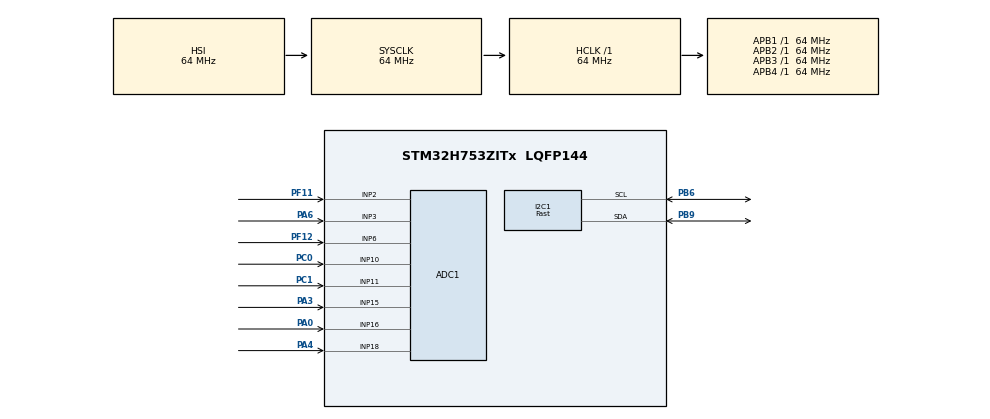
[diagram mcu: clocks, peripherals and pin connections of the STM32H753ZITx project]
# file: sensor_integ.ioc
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ADC1.Channel-0\#ChannelRegularConversion=ADC_CHANNEL_16
ADC1.Channel-1\#ChannelRegularConversion=ADC_CHANNEL_15
ADC1.Channel-2\#ChannelRegularConversion=ADC_CHANNEL_18
ADC1.Channel-3\#ChannelRegularConversion=ADC_CHANNEL_3
ADC1.Channel-4\#ChannelRegularConversion=ADC_CHANNEL_10
ADC1.Channel-5\#ChannelRegularConversion=ADC_CHANNEL_11
ADC1.Channel-6\#ChannelRegularConversion=ADC_CHANNEL_2
ADC1.Channel-7\#ChannelRegularConversion=ADC_CHANNEL_6
ADC1.ContinuousConvMode=ENABLE
ADC1.ConversionDataManagement=ADC_CONVERSIONDATA_DMA_CIRCULAR
ADC1.EOCSelection=ADC_EOC_SEQ_CONV
ADC1.NbrOfConversion=8
ADC1.NbrOfConversionFlag=1
ADC1.OffsetNumber-0\#ChannelRegularConversion=ADC_OFFSET_NONE
ADC1.OffsetNumber-1\#ChannelRegularConversion=ADC_OFFSET_NONE
ADC1.OffsetNumber-2\#ChannelRegularConversion=ADC_OFFSET_NONE
ADC1.OffsetNumber-3\#ChannelRegularConversion=ADC_OFFSET_NONE
ADC1.OffsetNumber-4\#ChannelRegularConversion=ADC_OFFSET_NONE
ADC1.OffsetNumber-5\#ChannelRegularConversion=ADC_OFFSET_NONE
ADC1.OffsetNumber-6\#ChannelRegularConversion=ADC_OFFSET_NONE
ADC1.OffsetNumber-7\#ChannelRegularConversion=ADC_OFFSET_NONE
ADC1.OffsetSignedSaturation-0\#ChannelRegularConversion=DISABLE
ADC1.OffsetSignedSaturation-1\#ChannelRegularConversion=DISABLE
ADC1.OffsetSignedSaturation-2\#ChannelRegularConversion=DISABLE
ADC1.OffsetSignedSaturation-3\#ChannelRegularConversion=DISABLE
ADC1.OffsetSignedSaturation-4\#ChannelRegularConversion=DISABLE
ADC1.OffsetSignedSaturation-5\#ChannelRegularConversion=DISABLE
ADC1.OffsetSignedSaturation-6\#ChannelRegularConversion=DISABLE
ADC1.OffsetSignedSaturation-7\#ChannelRegularConversion=DISABLE
ADC1.Rank-0\#ChannelRegularConversion=1
ADC1.Rank-1\#ChannelRegularConversion=2
ADC1.Rank-2\#ChannelRegularConversion=3
ADC1.Rank-3\#ChannelRegularConversion=4
ADC1.Rank-4\#ChannelRegularConversion=5
ADC1.Rank-5\#ChannelRegularConversion=6
ADC1.Rank-6\#ChannelRegularConversion=7
ADC1.Rank-7\#ChannelRegularConversion=8
ADC1.SamplingTime-0\#ChannelRegularConversion=ADC_SAMPLETIME_810CYCLES_5
ADC1.SamplingTime-1\#ChannelRegularConversion=ADC_SAMPLETIME_810CYCLES_5
ADC1.SamplingTime-2\#ChannelRegularConversion=ADC_SAMPLETIME_810CYCLES_5
ADC1.SamplingTime-3\#ChannelRegularConversion=ADC_SAMPLETIME_810CYCLES_5
ADC1.SamplingTime-4\#ChannelRegularConversion=ADC_SAMPLETIME_810CYCLES_5
ADC1.SamplingTime-5\#ChannelRegularConversion=ADC_SAMPLETIME_810CYCLES_5
ADC1.SamplingTime-6\#ChannelRegularConversion=ADC_SAMPLETIME_810CYCLES_5
ADC1.SamplingTime-7\#ChannelRegularConversion=ADC_SAMPLETIME_810CYCLES_5
ADC1.master=1
CORTEX_M7.CPU_DCache=Disabled
CORTEX_M7.CPU_ICache=Disabled
CORTEX_M7.MPU_Control=MPU_PRIVILEGED_DEFAULT
CORTEX_M7.default_mode_Activation=1
Dma.ADC1.0.Direction=DMA_PERIPH_TO_MEMORY
Dma.ADC1.0.EventEnable=DISABLE
Dma.ADC1.0.FIFOMode=DMA_FIFOMODE_DISABLE
Dma.ADC1.0.Instance=DMA1_Stream0
Dma.ADC1.0.MemDataAlignment=DMA_MDATAALIGN_HALFWORD
Dma.ADC1.0.MemInc=DMA_MINC_ENABLE
Dma.ADC1.0.Mode=DMA_CIRCULAR
Dma.ADC1.0.PeriphDataAlignment=DMA_PDATAALIGN_HALFWORD
Dma.ADC1.0.PeriphInc=DMA_PINC_DISABLE
Dma.ADC1.0.Polarity=HAL_DMAMUX_REQ_GEN_RISING
Dma.ADC1.0.Priority=DMA_PRIORITY_LOW
Dma.ADC1.0.RequestNumber=1
Dma.ADC1.0.SignalID=NONE
Dma.ADC1.0.SyncEnable=DISABLE
Dma.ADC1.0.SyncPolarity=HAL_DMAMUX_SYNC_NO_EVENT
Dma.ADC1.0.SyncRequestNumber=1
Dma.ADC1.0.SyncSignalID=NONE
Dma.Request0=ADC1
I2C1.I2C_Speed_Mode=I2C_Fast
I2C1.Timing=0x00602173
Mcu.Family=STM32H7
Mcu.Name=STM32H753ZITx
Mcu.Package=LQFP144
NUCLEO-H753ZI.BUTTON=1
NUCLEO-H753ZI.LD1=true
NUCLEO-H753ZI.LD2=true
NUCLEO-H753ZI.LD3=true
NUCLEO-H753ZI.VCP=true
NVIC.ADC_IRQn=true\:0\:0\:false\:false\:true\:true\:true\:true
NVIC.DMA1_Stream0_IRQn=true\:0\:0\:false\:false\:true\:false\:true\:true
NVIC.EXTI15_10_IRQn=true\:0\:0\:false\:false\:true\:false\:true\:true
NVIC.PriorityGroup=NVIC_PRIORITYGROUP_4
PA0.Mode=IN16-Single-Ended
PA0.Signal=ADC1_INP16
PA3.Signal=ADCx_INP15
PA4.Signal=ADCx_INP18
PA6.Signal=ADCx_INP3
PB6.Mode=I2C
PB6.Signal=I2C1_SCL
PB9.Mode=I2C
PB9.Signal=I2C1_SDA
PC0.Signal=ADCx_INP10
PC1.Signal=ADCx_INP11
PC14-OSC32_IN\ (OSC32_IN).Signal=RCC_OSC32_IN
PC15-OSC32_OUT\ (OSC32_OUT).Signal=RCC_OSC32_OUT
PD8.Signal=USART3_TX
PD9.Signal=USART3_RX
PF11.Mode=IN2-Single-Ended
PF11.Signal=ADC1_INP2
PF12.Mode=IN6-Single-Ended
PF12.Signal=ADC1_INP6
PH0-OSC_IN\ (PH0).Signal=RCC_OSC_IN
PH1-OSC_OUT\ (PH1).Signal=RCC_OSC_OUT
ProjectManager.HeapSize=0x200
ProjectManager.StackSize=0x400
ProjectManager.TargetToolchain=STM32CubeIDE
RCC.ADCFreq_Value=75000000
RCC.APB1Freq_Value=64000000
RCC.APB2Freq_Value=64000000
RCC.APB3Freq_Value=64000000
RCC.APB4Freq_Value=64000000
RCC.CortexFreq_Value=64000000
RCC.DIVM1=1
RCC.DIVM2=4
RCC.DIVN1=24
RCC.DIVN2=9
RCC.DIVQ1=4
RCC.HCLKFreq_Value=64000000
RCC.HSE_VALUE=8000000
RCC.PLL2FRACN=3072
RCC.PLLFRACN=0
RCC.PWR_Regulator_Voltage_Scale=PWR_REGULATOR_VOLTAGE_SCALE2
RCC.SYSCLKFreq_VALUE=64000000
RCC.USBFreq_Value=384000000
SH.ADCx_INP10.0=ADC1_INP10,IN10-Single-Ended
SH.ADCx_INP11.0=ADC1_INP11,IN11-Single-Ended
SH.ADCx_INP15.0=ADC1_INP15,IN15-Single-Ended
SH.ADCx_INP18.0=ADC1_INP18,IN18-Single-Ended
SH.ADCx_INP3.0=ADC1_INP3,IN3-Single-Ended
VP_MEMORYMAP_VS_MEMORYMAP.Mode=CurAppReg
VP_NUCLEO-H753ZI_VS_BSP_COMMON.Mode=COMMON
board=NUCLEO-H753ZI

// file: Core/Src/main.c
/* USER CODE BEGIN Header */
/**
  ******************************************************************************
  * @file           : main.c
  * @brief          : Main program body
  ******************************************************************************
  * @attention
  *
  * Copyright (c) 2026 STMicroelectronics.
  * All rights reserved.
  *
  * This software is licensed under terms that can be found in the LICENSE file
  * in the root directory of this software component.
  * If no LICENSE file comes with this software, it is provided AS-IS.
  *
  ******************************************************************************
  */
/* USER CODE END Header */
#include "main.h"

/* USER CODE BEGIN Includes */
#include "lidar.h"
#include "thermistors.h"
#include "mpu6050.h"
#include <stdio.h>
#include <stdlib.h>
/* USER CODE END Includes */

/* USER CODE BEGIN PTD */
#define NUM_THERM 8
/* USER CODE END PTD */

/* USER CODE BEGIN PD */
//#define LIDAR_ADD 0x62<<1  // i2c slave address of lidar lite
/* USER CODE END PD */

COM_InitTypeDef BspCOMInit;
ADC_HandleTypeDef hadc1;
DMA_HandleTypeDef hdma_adc1;

I2C_HandleTypeDef hi2c1;

/* USER CODE BEGIN PV */
int32_t m_distance,object_distance;
uint8_t cmd[1];
uint8_t data[2]={10};
char str[100];

__attribute__((section(".dma_buffer"), aligned(32)))
uint16_t adcBuf[16];   /* 8 used, padded to 32 bytes */
/* USER CODE END PV */

void SystemClock_Config(void);
static void MPU_Config(void);
static void MX_GPIO_Init(void);
static void MX_DMA_Init(void);
static void MX_I2C1_Init(void);
static void MX_ADC1_Init(void);

int main(void)
{

  /* USER CODE BEGIN 1 */
   //configuration_set(4);  // initialize configurations for LIDAR

  /* USER CODE END 1 */

  /* MPU Configuration--------------------------------------------------------*/
  MPU_Config();

  /* MCU Configuration--------------------------------------------------------*/

  /* Reset of all peripherals, Initializes the Flash interface and the Systick. */
  HAL_Init();

  /* Configure the system clock */
  SystemClock_Config();

  /* Initialize all configured peripherals */
  MX_GPIO_Init();
  MX_DMA_Init();
  MX_I2C1_Init();
  MX_ADC1_Init();
  /* USER CODE BEGIN 2 */
  HAL_ADCEx_Calibration_Start(&hadc1, ADC_CALIB_OFFSET, ADC_SINGLE_ENDED);
  HAL_ADC_Start_DMA(&hadc1, (uint32_t*)adcBuf, NUM_THERM);
  /* USER CODE END 2 */

  /* Initialize leds */
  BSP_LED_Init(LED_GREEN);
  BSP_LED_Init(LED_YELLOW);
  BSP_LED_Init(LED_RED);

  /* Initialize USER push-button, will be used to trigger an interrupt each time it's pressed.*/
  BSP_PB_Init(BUTTON_USER, BUTTON_MODE_EXTI);

  /* Initialize COM1 port (115200, 8 bits (7-bit data + 1 stop bit), no parity */
  BspCOMInit.BaudRate   = 115200;
  BspCOMInit.WordLength = COM_WORDLENGTH_8B;
  BspCOMInit.StopBits   = COM_STOPBITS_1;
  BspCOMInit.Parity     = COM_PARITY_NONE;
  BspCOMInit.HwFlowCtl  = COM_HWCONTROL_NONE;
  if (BSP_COM_Init(COM1, &BspCOMInit) != BSP_ERROR_NONE)
  {
    Error_Handler();
  }

  /* Infinite loop */
  /* USER CODE BEGIN WHILE */
  lidar_init(&hi2c1);
  lidar_config(3);
  MPU6050_Initialization();

  BSP_COM_SelectLogPort(COM1);
  printf("8 thermistor read started\r\n");
  while (1)
  {

    /* USER CODE END WHILE */

    /* USER CODE BEGIN 3 */

	  // MPU
	  MPU6050_ProcessData(&MPU6050);
	  printf("Accel X: %.2f, Y: %.2f, Z: %.2f g\r\n", MPU6050.acc_x, MPU6050.acc_y, MPU6050.acc_z);
	  printf("Gyro X: %.2f, Y: %.2f, Z: %.2f deg/s\r\n", MPU6050.gyro_x, MPU6050.gyro_y, MPU6050.gyro_z);
	  printf("Temperature: %.2f C\r\n", MPU6050.temperature);
	  HAL_Delay(100);

	  // LiDAR
	  printf("LIDAR readings: ");
	  object_distance = retrieve_lidar_distance();
	  printf("Distance: %lu cm\r\n", object_distance);
	  HAL_Delay(100);

	  // thermistors
	  SCB_InvalidateDCache_by_Addr((uint32_t*)adcBuf, sizeof(adcBuf));

	  for (int i = 0; i < NUM_THERM; i++)
	  {
		float   tempC = ntc_convertToC(adcBuf[i]);
		int32_t t100  = (int32_t)(tempC * 100.0f);
		printf("T%d:%s%ld.%02ld  ", i + 1,
			   (t100 < 0) ? "-" : "",
			   (long)abs(t100 / 100),
			   (long)abs(t100 % 100));
	  }
	  printf("\r\n");

	  BSP_LED_Toggle(LED_GREEN);
	  HAL_Delay(200);

  }
  /* USER CODE END 3 */
}

void SystemClock_Config(void)
{
  RCC_OscInitTypeDef RCC_OscInitStruct = {0};
  RCC_ClkInitTypeDef RCC_ClkInitStruct = {0};

  /** Supply configuration update enable
  */
  HAL_PWREx_ConfigSupply(PWR_LDO_SUPPLY);

  /** Configure the main internal regulator output voltage
  */
  __HAL_PWR_VOLTAGESCALING_CONFIG(PWR_REGULATOR_VOLTAGE_SCALE2);

  while(!__HAL_PWR_GET_FLAG(PWR_FLAG_VOSRDY)) {}

  /** Macro to configure the PLL clock source
  */
  __HAL_RCC_PLL_PLLSOURCE_CONFIG(RCC_PLLSOURCE_HSI);

  /** Initializes the RCC Oscillators according to the specified parameters
  * in the RCC_OscInitTypeDef structure.
  */
  RCC_OscInitStruct.OscillatorType = RCC_OSCILLATORTYPE_HSI;
  RCC_OscInitStruct.HSIState = RCC_HSI_DIV1;
  RCC_OscInitStruct.HSICalibrationValue = RCC_HSICALIBRATION_DEFAULT;
  RCC_OscInitStruct.PLL.PLLState = RCC_PLL_NONE;
  if (HAL_RCC_OscConfig(&RCC_OscInitStruct) != HAL_OK)
  {
    Error_Handler();
  }

  /** Initializes the CPU, AHB and APB buses clocks
  */
  RCC_ClkInitStruct.ClockType = RCC_CLOCKTYPE_HCLK|RCC_CLOCKTYPE_SYSCLK
                              |RCC_CLOCKTYPE_PCLK1|RCC_CLOCKTYPE_PCLK2
                              |RCC_CLOCKTYPE_D3PCLK1|RCC_CLOCKTYPE_D1PCLK1;
  RCC_ClkInitStruct.SYSCLKSource = RCC_SYSCLKSOURCE_HSI;
  RCC_ClkInitStruct.SYSCLKDivider = RCC_SYSCLK_DIV1;
  RCC_ClkInitStruct.AHBCLKDivider = RCC_HCLK_DIV1;
  RCC_ClkInitStruct.APB3CLKDivider = RCC_APB3_DIV1;
  RCC_ClkInitStruct.APB1CLKDivider = RCC_APB1_DIV1;
  RCC_ClkInitStruct.APB2CLKDivider = RCC_APB2_DIV1;
  RCC_ClkInitStruct.APB4CLKDivider = RCC_APB4_DIV1;

  if (HAL_RCC_ClockConfig(&RCC_ClkInitStruct, FLASH_LATENCY_1) != HAL_OK)
  {
    Error_Handler();
  }
}

static void MX_ADC1_Init(void)
{

  ADC_MultiModeTypeDef multimode = {0};
  ADC_ChannelConfTypeDef sConfig = {0};

  /** Common config
  */
  hadc1.Instance = ADC1;
  hadc1.Init.ClockPrescaler = ADC_CLOCK_ASYNC_DIV2;
  hadc1.Init.Resolution = ADC_RESOLUTION_16B;
  hadc1.Init.ScanConvMode = ADC_SCAN_ENABLE;
  hadc1.Init.EOCSelection = ADC_EOC_SEQ_CONV;
  hadc1.Init.LowPowerAutoWait = DISABLE;
  hadc1.Init.ContinuousConvMode = ENABLE;
  hadc1.Init.NbrOfConversion = 8;
  hadc1.Init.DiscontinuousConvMode = DISABLE;
  hadc1.Init.ExternalTrigConv = ADC_SOFTWARE_START;
  hadc1.Init.ExternalTrigConvEdge = ADC_EXTERNALTRIGCONVEDGE_NONE;
  hadc1.Init.ConversionDataManagement = ADC_CONVERSIONDATA_DMA_CIRCULAR;
  hadc1.Init.Overrun = ADC_OVR_DATA_PRESERVED;
  hadc1.Init.LeftBitShift = ADC_LEFTBITSHIFT_NONE;
  hadc1.Init.OversamplingMode = DISABLE;
  hadc1.Init.Oversampling.Ratio = 1;
  if (HAL_ADC_Init(&hadc1) != HAL_OK)
  {
    Error_Handler();
  }

  /** Configure the ADC multi-mode
  */
  multimode.Mode = ADC_MODE_INDEPENDENT;
  if (HAL_ADCEx_MultiModeConfigChannel(&hadc1, &multimode) != HAL_OK)
  {
    Error_Handler();
  }

  /** Configure Regular Channel
  */
  sConfig.Channel = ADC_CHANNEL_16;
  sConfig.Rank = ADC_REGULAR_RANK_1;
  sConfig.SamplingTime = ADC_SAMPLETIME_810CYCLES_5;
  sConfig.SingleDiff = ADC_SINGLE_ENDED;
  sConfig.OffsetNumber = ADC_OFFSET_NONE;
  sConfig.Offset = 0;
  sConfig.OffsetSignedSaturation = DISABLE;
  if (HAL_ADC_ConfigChannel(&hadc1, &sConfig) != HAL_OK)
  {
    Error_Handler();
  }

  /** Configure Regular Channel
  */
  sConfig.Channel = ADC_CHANNEL_15;
  sConfig.Rank = ADC_REGULAR_RANK_2;
  if (HAL_ADC_ConfigChannel(&hadc1, &sConfig) != HAL_OK)
  {
    Error_Handler();
  }

  /** Configure Regular Channel
  */
  sConfig.Channel = ADC_CHANNEL_18;
  sConfig.Rank = ADC_REGULAR_RANK_3;
  if (HAL_ADC_ConfigChannel(&hadc1, &sConfig) != HAL_OK)
  {
    Error_Handler();
  }

  /** Configure Regular Channel
  */
  sConfig.Channel = ADC_CHANNEL_3;
  sConfig.Rank = ADC_REGULAR_RANK_4;
  if (HAL_ADC_ConfigChannel(&hadc1, &sConfig) != HAL_OK)
  {
    Error_Handler();
  }

  /** Configure Regular Channel
  */
  sConfig.Channel = ADC_CHANNEL_10;
  sConfig.Rank = ADC_REGULAR_RANK_5;
  if (HAL_ADC_ConfigChannel(&hadc1, &sConfig) != HAL_OK)
  {
    Error_Handler();
  }

  /** Configure Regular Channel
  */
  sConfig.Channel = ADC_CHANNEL_11;
  sConfig.Rank = ADC_REGULAR_RANK_6;
  if (HAL_ADC_ConfigChannel(&hadc1, &sConfig) != HAL_OK)
  {
    Error_Handler();
  }

  /** Configure Regular Channel
  */
  sConfig.Channel = ADC_CHANNEL_2;
  sConfig.Rank = ADC_REGULAR_RANK_7;
  if (HAL_ADC_ConfigChannel(&hadc1, &sConfig) != HAL_OK)
  {
    Error_Handler();
  }

  /** Configure Regular Channel
  */
  sConfig.Channel = ADC_CHANNEL_6;
  sConfig.Rank = ADC_REGULAR_RANK_8;
  if (HAL_ADC_ConfigChannel(&hadc1, &sConfig) != HAL_OK)
  {
    Error_Handler();
  }

}

static void MX_I2C1_Init(void)
{

  hi2c1.Instance = I2C1;
  hi2c1.Init.Timing = 0x00602173;
  hi2c1.Init.OwnAddress1 = 0;
  hi2c1.Init.AddressingMode = I2C_ADDRESSINGMODE_7BIT;
  hi2c1.Init.DualAddressMode = I2C_DUALADDRESS_DISABLE;
  hi2c1.Init.OwnAddress2 = 0;
  hi2c1.Init.OwnAddress2Masks = I2C_OA2_NOMASK;
  hi2c1.Init.GeneralCallMode = I2C_GENERALCALL_DISABLE;
  hi2c1.Init.NoStretchMode = I2C_NOSTRETCH_DISABLE;
  if (HAL_I2C_Init(&hi2c1) != HAL_OK)
  {
    Error_Handler();
  }

  /** Configure Analogue filter
  */
  if (HAL_I2CEx_ConfigAnalogFilter(&hi2c1, I2C_ANALOGFILTER_ENABLE) != HAL_OK)
  {
    Error_Handler();
  }

  /** Configure Digital filter
  */
  if (HAL_I2CEx_ConfigDigitalFilter(&hi2c1, 0) != HAL_OK)
  {
    Error_Handler();
  }

}

static void MX_DMA_Init(void)
{

  /* DMA controller clock enable */
  __HAL_RCC_DMA1_CLK_ENABLE();

  /* DMA interrupt init */
  /* DMA1_Stream0_IRQn interrupt configuration */
  HAL_NVIC_SetPriority(DMA1_Stream0_IRQn, 0, 0);
  HAL_NVIC_EnableIRQ(DMA1_Stream0_IRQn);

}

static void MX_GPIO_Init(void)
{

  /* GPIO Ports Clock Enable */
  __HAL_RCC_GPIOC_CLK_ENABLE();
  __HAL_RCC_GPIOH_CLK_ENABLE();
  __HAL_RCC_GPIOA_CLK_ENABLE();
  __HAL_RCC_GPIOF_CLK_ENABLE();
  __HAL_RCC_GPIOB_CLK_ENABLE();

}

 /* MPU Configuration */

void MPU_Config(void)
{
  MPU_Region_InitTypeDef MPU_InitStruct = {0};

  /* Disables the MPU */
  HAL_MPU_Disable();

  /** Initializes and configures the Region and the memory to be protected
  */
  MPU_InitStruct.Enable = MPU_REGION_ENABLE;
  MPU_InitStruct.Number = MPU_REGION_NUMBER0;
  MPU_InitStruct.BaseAddress = 0x0;
  MPU_InitStruct.Size = MPU_REGION_SIZE_4GB;
  MPU_InitStruct.SubRegionDisable = 0x87;
  MPU_InitStruct.TypeExtField = MPU_TEX_LEVEL0;
  MPU_InitStruct.AccessPermission = MPU_REGION_NO_ACCESS;
  MPU_InitStruct.DisableExec = MPU_INSTRUCTION_ACCESS_DISABLE;
  MPU_InitStruct.IsShareable = MPU_ACCESS_SHAREABLE;
  MPU_InitStruct.IsCacheable = MPU_ACCESS_NOT_CACHEABLE;
  MPU_InitStruct.IsBufferable = MPU_ACCESS_NOT_BUFFERABLE;

  HAL_MPU_ConfigRegion(&MPU_InitStruct);
  /* Enables the MPU */
  HAL_MPU_Enable(MPU_PRIVILEGED_DEFAULT);

}

void Error_Handler(void)
{
  __disable_irq();
  while (1)
  {
  }
}
